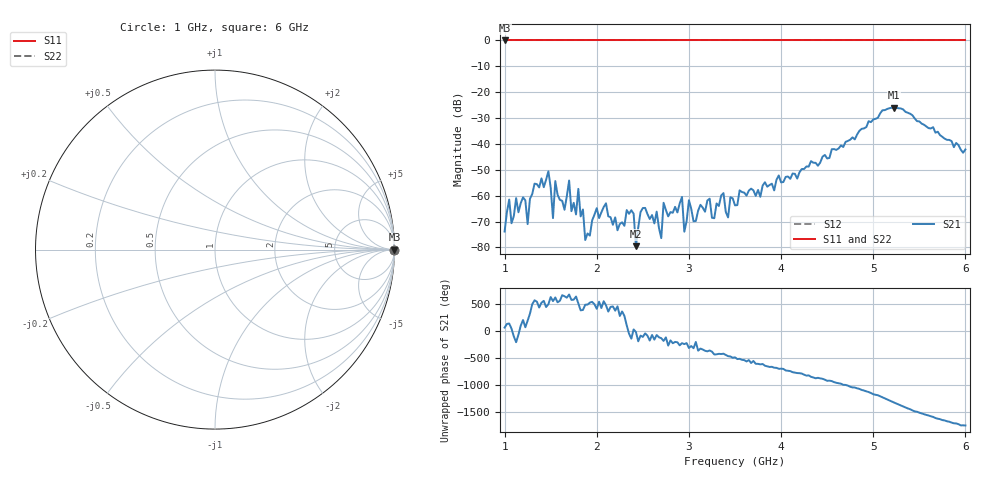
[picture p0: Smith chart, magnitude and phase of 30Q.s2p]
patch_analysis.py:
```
import os
import numpy as np
import matplotlib.pyplot as plt
from scipy.interpolate import interp1d

# =============================================================================
# Configuration
# =============================================================================
data_dir = '.'  # Current directory
export_dir = 'chamber_plots'
os.makedirs(export_dir, exist_ok=True)

target_freq_Hz = 5.23e9
Pt_dBm = 5
c = 299792458
ff_min_cm = 20
ff_max_cm = 150
patch_width = 0.0429
patch_height = 0.0484
patch_D = np.sqrt(patch_width**2 + patch_height**2)

distance_cm = np.arange(10, 160, 10)
rotation_deg = np.arange(0, 190, 10)

# =============================================================================
# Custom Touchstone Parser (S21 Only)
# =============================================================================
def read_s2p_S21(fname):
    freq_unit_scale = 1.0
    param_format = 'DB'
    freqs, s21_db = [], []
    try:
        with open(fname, 'r') as fid:
            for line in fid:
                line = line.strip()
                if not line or line.startswith('!'): continue
                if line.startswith('#'):
                    parts = line[1:].strip().split()
                    for p in parts:
                        p_upper = p.upper()
                        if p_upper in ['HZ', 'KHZ', 'MHZ', 'GHZ']:
                            if p_upper == 'HZ': freq_unit_scale = 1.0
                            elif p_upper == 'KHZ': freq_unit_scale = 1e3
                            elif p_upper == 'MHZ': freq_unit_scale = 1e6
                            elif p_upper == 'GHZ': freq_unit_scale = 1e9
                        elif p_upper in ['DB', 'MA', 'RI']:
                            param_format = p_upper
                    continue
                parts = [float(x) for x in line.split()]
                if len(parts) >= 9:
                    freqs.append(parts[0] * freq_unit_scale)
                    a, b = parts[3], parts[4]
                    if param_format == 'DB':
                        s21_db.append(a)
                    elif param_format == 'MA':
                        s21_db.append(20*np.log10(a) if a > 0 else -100)
                    elif param_format == 'RI':
                        s21_db.append(20*np.log10(np.sqrt(a**2 + b**2)) if (a!=0 or b!=0) else -100)
        return np.array(freqs), np.array(s21_db)
    except Exception as e:
        return None, None

# =============================================================================
# Load Data & Identify Frequency
# =============================================================================
freq = None
S21_dist_mat = []
valid_dists = []

for d in distance_cm:
    fname = os.path.join(data_dir, f"{d}.s2p")
    if os.path.exists(fname):
        f, s = read_s2p_S21(fname)
        if f is not None:
            if freq is None: freq = f
            S21_dist_mat.append(s)
            valid_dists.append(d)

S21_dist_mat = np.column_stack(S21_dist_mat)
valid_dists = np.array(valid_dists)

ff_mask = (valid_dists >= ff_min_cm) & (valid_dists <= ff_max_cm)
idx_f0 = np.argmin(np.abs(freq - target_freq_Hz))
f0 = freq[idx_f0]
lambda0 = c / f0

# =============================================================================
# Distance Analysis (Friis)
# =============================================================================
S21_f0 = S21_dist_mat[idx_f0, :]
Pr_dBm = S21_f0 + Pt_dBm
Pr_mW = 10**(Pr_dBm / 10)
inv_sP = 1 / np.sqrt(Pr_mW)

r_cm = valid_dists
r_ff = r_cm[ff_mask]
inv_sP_ff = inv_sP[ff_mask]

# Linear fit
p_lin = np.polyfit(r_ff, inv_sP_ff, 1)
m_fit, b_fit = p_lin[0], p_lin[1]
x_int = -b_fit / m_fit
epsilon_cm = -x_int
r1_cm = r_cm + epsilon_cm

# Log-Log fit
p_log = np.polyfit(np.log10(r_ff), np.log10(Pr_mW[ff_mask]), 1)
slope = p_log[0]

# Gain Calculation
G_dB_raw = 0.5 * (S21_f0 + 20*np.log10(4*np.pi*(r_cm/100)/lambda0))
G_dB_mean = np.mean(G_dB_raw[ff_mask])

# =============================================================================
# Rotation Pattern Analysis
# =============================================================================
S21_rot_dB = []
valid_rot = []
for a in rotation_deg:
    fname = os.path.join(data_dir, "30Q.s2p" if a == 0 else f"30Q{a}.s2p")
    if os.path.exists(fname):
        _, s = read_s2p_S21(fname)
        if s is not None:
            S21_rot_dB.append(s[idx_f0])
            valid_rot.append(a)

S21_rot_dB = np.array(S21_rot_dB)
valid_rot = np.array(valid_rot)

Pr_rot_lin = 10**(S21_rot_dB / 10)
Pr_norm = Pr_rot_lin / np.max(Pr_rot_lin)
Pr_norm_dB = 10*np.log10(Pr_norm)

# Mirror Pattern
theta_full_deg = np.concatenate([-np.flip(valid_rot[1:]), valid_rot])
Pr_dB_full = np.concatenate([np.flip(Pr_norm_dB[1:]), Pr_norm_dB])
Pr_norm_full = np.concatenate([np.flip(Pr_norm[1:]), Pr_norm])
theta_full_rad = np.deg2rad(theta_full_deg)

# Interpolate for exact HPBW
theta_fine_rad = np.linspace(-np.pi/2, np.pi/2, 4001)
f_interp = interp1d(theta_full_rad, Pr_dB_full, kind='linear')
Pr_dB_fine = f_interp(theta_fine_rad)

half = len(theta_fine_rad)//2
iL = np.argmin(np.abs(Pr_dB_fine[:half] - (-3)))
iR = np.argmin(np.abs(Pr_dB_fine[half:] - (-3))) + half
HPBW_rad = theta_fine_rad[iR] - theta_fine_rad[iL]
HPBW_deg = np.rad2deg(HPBW_rad)

# Directivity Metrics
n_est = np.log(0.5) / np.log(np.cos(HPBW_rad/2))
D_dBi_n = 10*np.log10(2*(n_est + 1))

theta_b_rad = np.deg2rad(valid_rot)
P_norm = np.trapz(Pr_norm * np.sin(theta_b_rad), theta_b_rad)
D_axi_dBi = 10*np.log10(2 / P_norm)

front_mask = np.abs(theta_full_deg) <= 90
back_mask = np.abs(theta_full_deg) >= 90
FB_dB = np.max(Pr_dB_full[front_mask]) - np.max(Pr_dB_full[back_mask])

back_hemi = np.abs(theta_full_deg) > 90
BLL_dB = np.max(Pr_dB_full[back_hemi])
BLL_theta = theta_full_deg[back_hemi][np.argmax(Pr_dB_full[back_hemi])]

eta_axi = 10**((G_dB_mean - D_axi_dBi)/10)

# Flip Delta
_, s30 = read_s2p_S21(os.path.join(data_dir, "30.s2p"))
_, s30Q = read_s2p_S21(os.path.join(data_dir, "30Q.s2p"))
dS21_f0 = s30[idx_f0] - s30Q[idx_f0]

# =============================================================================
# Print Condensed Summary
# =============================================================================
print("\n========================================================")
print("               CONDENSED RESULTS SUMMARY")
print("========================================================")
print(f"Target Freq (f0)         : {f0/1e9:.3f} GHz")
print(f"Dist Fit Range           : {ff_min_cm} to {ff_max_cm} cm")
print(f"Amp. Center (epsilon)    : {epsilon_cm:.2f} cm")
print(f"Dist. Log-Log Slope      : {slope:.2f}")
print(f"Mean Raw Gain            : {G_dB_mean:.2f} dBi")
print("--------------------------------------------------------")
print(f"HPBW (Measured cut)      : {HPBW_deg:.1f} deg")
print(f"Directivity (Integration): {D_axi_dBi:.2f} dBi")
print(f"Directivity (cos^n fit)  : {D_dBi_n:.2f} dBi")
print(f"Front-to-Back Ratio      : {FB_dB:.1f} dB")
print(f"Back-Lobe Level          : {BLL_dB:.1f} dB (at {BLL_theta} deg)")
print(f"Estimated Efficiency     : {eta_axi*100:.1f} %")
print(f"Flip Delta (30 vs 30Q)   : {dS21_f0:+.2f} dB")
print("========================================================\n")

# =============================================================================
# Export High-Quality Plots
# =============================================================================
print("Generating and saving plots...")

# 1. Pr vs r1 (Amplitude Center Corrected with Ideal Slope)
plt.figure(figsize=(8, 6))
plt.loglog(r1_cm, Pr_mW, 'bo-', linewidth=1.5, label='Measured (shifted)')
idx_ref = np.where(ff_mask)[0][0]
Pr_ideal = Pr_mW[idx_ref] * (r1_cm[idx_ref] / r1_cm)**2
plt.loglog(r1_cm, Pr_ideal, 'k--', linewidth=1.5, label='Ideal -2 Slope (1/r^2)')
plt.grid(True, which="both", ls="--")
plt.xlabel('r_1 = r + epsilon (cm)')
plt.ylabel('P_r (mW)')
plt.title('P_r vs r_1 (Amplitude Center Corrected)')
plt.legend()
plt.savefig(os.path.join(export_dir, 'Pr_vs_r1_Amplitude_Center.png'), dpi=300, bbox_inches='tight')

# 2. Rectangular Pattern
plt.figure(figsize=(8, 6))
plt.plot(theta_full_deg, Pr_dB_full, 'b-o', linewidth=1.5, label='Measured (mirrored)')
plt.axhline(-3, color='r', linestyle='--', label='-3 dB')
plt.axvline(HPBW_deg/2, color='m', linestyle=':', label=f'+HPBW/2 = {HPBW_deg/2:.0f} deg')
plt.axvline(-HPBW_deg/2, color='m', linestyle=':', label=f'-HPBW/2 = {-HPBW_deg/2:.0f} deg')
plt.plot(BLL_theta, BLL_dB, 'r^', markersize=10, label=f'Back lobe = {BLL_dB:.1f} dB @ {BLL_theta} deg')
plt.xlim([-180, 180])
plt.ylim([np.floor(np.min(Pr_dB_full)/10)*10, 0])
plt.grid(True)
plt.xlabel(r'Rotation angle $\theta$ (deg)')
plt.ylabel('Normalized $P_r$ (dB)')
plt.title(f'Rectangular pattern @ {f0/1e9:.2f} GHz')
plt.legend(loc='lower center', bbox_to_anchor=(0.5, -0.25), ncol=2)
plt.savefig(os.path.join(export_dir, 'Pattern_Rectangular.png'), dpi=300, bbox_inches='tight')

# 3. Polar Pattern
fig, ax = plt.subplots(figsize=(8, 8), subplot_kw={'projection': 'polar'})
ax.plot(theta_full_rad, Pr_dB_full, 'b-', linewidth=2, label='Pattern')
ax.plot(theta_full_rad, np.full_like(theta_full_rad, -3), 'r--', label='-3 dB')
ax.plot(theta_full_rad, np.full_like(theta_full_rad, -10), 'm--', label='-10 dB')
ax.set_ylim([np.floor(np.min(Pr_dB_full)/10)*10, 0])
ax.set_title(f'Normalized power (dB) @ {f0/1e9:.2f} GHz\n', va='bottom')
ax.legend(loc='lower left', bbox_to_anchor=(1.05, 0))
plt.savefig(os.path.join(export_dir, 'Pattern_Polar.png'), dpi=300, bbox_inches='tight')

print(f"All plots successfully saved to the '{export_dir}' folder!")
```
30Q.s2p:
!Keysight Technologies N9926A: A.08.19
!Date: Sunday, 01 March 2026 13:51:34
!Timezone: (GMT-06:00) Central Time (US & Canada)
!Model: N9926A
!Serial: MY53102721
!GPS Latitude:
!GPS Longitude:
!GPS TimeStamp: 0001-01-01 00:00:00Z
!GPS Seconds Since Last Read: 0
!CHECKSUM:0619951294
!Correction: S11()S21(ON U)S12()S22()
!S2P File: Measurements:S11,S21,S12,S22:
# Hz S DB R 50
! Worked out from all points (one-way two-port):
!   201 points, 1 GHz to 6 GHz, reference 50 ohm
!   highest |S21| = -25.92 dB at 5.225 GHz (marker M1); lowest = -79.5 dB at 2.425 GHz (marker M2)
!   lowest |S11| = 0.0 dB at 1 GHz (marker M3)
!   |S11| at or under -10 dB: nowhere
!   |S22| runs from 0.0 to 0.0 dB; largest |S21 - S12| = 1
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1e9  0.00 0.0  -73.88 55.9  0.00 0.0  0.00 0.0
1.475e9  0.00 0.0  -50.58 129.8  0.00 0.0  0.00 0.0
1.525e9  0.00 0.0  -68.68 -172.4  0.00 0.0  0.00 0.0
1.7e9  0.00 0.0  -54.16 -50.8  0.00 0.0  0.00 0.0
1.875e9  0.00 0.0  -77.16 120.4  0.00 0.0  0.00 0.0
2.1e9  0.00 0.0  -62.98 111.0  0.00 0.0  0.00 0.0
2.425e9  0.00 0.0  -79.53 -25.3  0.00 0.0  0.00 0.0
2.5e9  0.00 0.0  -64.79 -116.2  0.00 0.0  0.00 0.0
3.5e9  0.00 0.0  -63.76 -135.5  0.00 0.0  0.00 0.0
5.225e9  0.00 0.0  -25.92 107.4  0.00 0.0  0.00 0.0
6e9  0.00 0.0  -42.15 41.7  0.00 0.0  0.00 0.0
